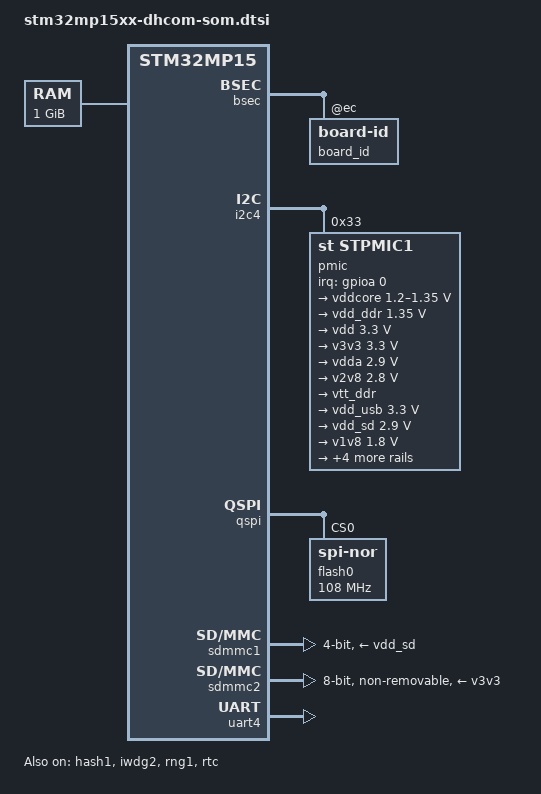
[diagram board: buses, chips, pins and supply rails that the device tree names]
// SPDX-License-Identifier: GPL-2.0-or-later OR BSD-3-Clause
/*
 * Copyright (C) 2019-2020 Marek Vasut <marex@denx.de>
 * Copyright (C) 2022 DH electronics GmbH
 * Copyright (C) 2023-2024, STMicroelectronics - All Rights Reserved
 */

#include "stm32mp15-pinctrl.dtsi"
#include "stm32mp15xxaa-pinctrl.dtsi"
#include <dt-bindings/clock/stm32mp1-clksrc.h>
#include "stm32mp15-ddr3-dhsom-2x4Gb-1066-binG.dtsi"

/ {
	memory@c0000000 {
		device_type = "memory";
		reg = <0xC0000000 0x40000000>;
	};
};

&bsec {
	board_id: board-id@ec {
		reg = <0xec 0x4>;
		st,non-secure-otp;
	};
};

&cpu0 {
	cpu-supply = <&vddcore>;
};

&cpu1 {
	cpu-supply = <&vddcore>;
};

&hash1 {
	status = "okay";
};

&i2c4 {
	pinctrl-names = "default";
	pinctrl-0 = <&i2c4_pins_a>;
	i2c-scl-rising-time-ns = <185>;
	i2c-scl-falling-time-ns = <20>;
	status = "okay";

	pmic: stpmic@33 {
		compatible = "st,stpmic1";
		reg = <0x33>;
		interrupts-extended = <&gpioa 0 IRQ_TYPE_EDGE_FALLING>;
		interrupt-controller;
		#interrupt-cells = <2>;
		status = "okay";

		regulators {
			compatible = "st,stpmic1-regulators";
			ldo1-supply = <&v3v3>;
			ldo2-supply = <&v3v3>;
			ldo3-supply = <&vdd_ddr>;
			ldo5-supply = <&v3v3>;
			ldo6-supply = <&v3v3>;
			pwr_sw1-supply = <&bst_out>;
			pwr_sw2-supply = <&bst_out>;

			vddcore: buck1 {
				regulator-name = "vddcore";
				regulator-min-microvolt = <1200000>;
				regulator-max-microvolt = <1350000>;
				regulator-always-on;
				regulator-initial-mode = <0>;
				regulator-over-current-protection;
			};

			vdd_ddr: buck2 {
				regulator-name = "vdd_ddr";
				regulator-min-microvolt = <1350000>;
				regulator-max-microvolt = <1350000>;
				regulator-always-on;
				regulator-initial-mode = <0>;
				regulator-over-current-protection;
			};

			vdd: buck3 {
				regulator-name = "vdd";
				regulator-min-microvolt = <3300000>;
				regulator-max-microvolt = <3300000>;
				regulator-always-on;
				st,mask-reset;
				regulator-initial-mode = <0>;
				regulator-over-current-protection;
			};

			v3v3: buck4 {
				regulator-name = "v3v3";
				regulator-min-microvolt = <3300000>;
				regulator-max-microvolt = <3300000>;
				regulator-always-on;
				regulator-over-current-protection;
				regulator-initial-mode = <0>;
			};

			vdda: ldo1 {
				regulator-name = "vdda";
				regulator-min-microvolt = <2900000>;
				regulator-max-microvolt = <2900000>;
				regulator-always-on;
			};

			v2v8: ldo2 {
				regulator-name = "v2v8";
				regulator-min-microvolt = <2800000>;
				regulator-max-microvolt = <2800000>;
			};

			vtt_ddr: ldo3 {
				regulator-name = "vtt_ddr";
				regulator-always-on;
				regulator-over-current-protection;
				st,regulator-sink-source;
			};

			vdd_usb: ldo4 {
				regulator-name = "vdd_usb";
				regulator-min-microvolt = <3300000>;
				regulator-max-microvolt = <3300000>;
			};

			vdd_sd: ldo5 {
				regulator-name = "vdd_sd";
				regulator-min-microvolt = <2900000>;
				regulator-max-microvolt = <2900000>;
				regulator-boot-on;
			};

			v1v8: ldo6 {
				regulator-name = "v1v8";
				regulator-min-microvolt = <1800000>;
				regulator-max-microvolt = <1800000>;
			};

			vref_ddr: vref_ddr {
				regulator-name = "vref_ddr";
				regulator-always-on;
			};

			bst_out: boost {
				regulator-name = "bst_out";
			};

			vbus_otg: pwr_sw1 {
				regulator-name = "vbus_otg";
			};

			vbus_sw: pwr_sw2 {
				regulator-name = "vbus_sw";
				regulator-active-discharge = <1>;
			};
		};
	};
};

&iwdg2 {
	timeout-sec = <32>;
	status = "okay";
};

&pwr_regulators {
	vdd-supply = <&vdd>;
	vdd_3v3_usbfs-supply = <&vdd_usb>;
};

&qspi {
	pinctrl-names = "default";
	pinctrl-0 = <&qspi_clk_pins_a
		     &qspi_bk1_pins_a
		     &qspi_cs1_pins_a>;
	reg = <0x58003000 0x1000>, <0x70000000 0x4000000>;
	#address-cells = <1>;
	#size-cells = <0>;
	status = "okay";

	flash0: flash@0 {
		compatible = "jedec,spi-nor";
		reg = <0>;
		spi-rx-bus-width = <4>;
		spi-max-frequency = <108000000>;
		#address-cells = <1>;
		#size-cells = <1>;
	};
};

&rcc {
	st,clksrc = <
		CLK_MPU_PLL1P
		CLK_AXI_PLL2P
		CLK_MCU_PLL3P
		CLK_RTC_LSE
		CLK_MCO1_DISABLED
		CLK_MCO2_PLL4
		CLK_CKPER_HSE
		CLK_FMC_ACLK
		CLK_QSPI_ACLK
		CLK_ETH_PLL4P
		CLK_SDMMC12_PLL4P
		CLK_DSI_DSIPLL
		CLK_STGEN_HSE
		CLK_USBPHY_HSE
		CLK_SPI2S1_PLL3Q
		CLK_SPI2S23_PLL3Q
		CLK_SPI45_HSI
		CLK_SPI6_HSI
		CLK_I2C46_HSI
		CLK_SDMMC3_PLL4P
		CLK_USBO_USBPHY
		CLK_ADC_CKPER
		CLK_CEC_LSE
		CLK_I2C12_HSI
		CLK_I2C35_HSI
		CLK_UART1_HSI
		CLK_UART24_HSI
		CLK_UART35_HSI
		CLK_UART6_HSI
		CLK_UART78_HSI
		CLK_SPDIF_PLL4P
		CLK_FDCAN_PLL4R
		CLK_SAI1_PLL3Q
		CLK_SAI2_PLL3Q
		CLK_SAI3_PLL3Q
		CLK_SAI4_PLL3Q
		CLK_RNG1_CSI
		CLK_RNG2_LSI
		CLK_LPTIM1_PCLK1
		CLK_LPTIM23_PCLK3
		CLK_LPTIM45_LSE
	>;

	st,clkdiv = <
		DIV(DIV_MPU, 1)
		DIV(DIV_AXI, 0)
		DIV(DIV_MCU, 0)
		DIV(DIV_APB1, 1)
		DIV(DIV_APB2, 1)
		DIV(DIV_APB3, 1)
		DIV(DIV_APB4, 1)
		DIV(DIV_APB5, 2)
		DIV(DIV_RTC, 23)
		DIV(DIV_MCO1, 0)
		DIV(DIV_MCO2, 1)
	>;

	st,pll_vco {
		pll2_vco_1066Mhz: pll2-vco-1066Mhz {
			src = <CLK_PLL12_HSE>;
			divmn = <2 65>;
			frac = <0x1400>;
		};

		pll3_vco_417Mhz: pll3-vco-417Mhz {
			src = <CLK_PLL3_HSE>;
			divmn = <1 33>;
			frac = <0x1a04>;
		};

		pll4_vco_600Mhz: pll4-vco-600hz {
			src = <CLK_PLL4_HSE>;
			divmn = <1 49>;
		};
	};

	/* VCO = 1066.0 MHz => P = 266 (AXI), Q = 533 (GPU), R = 533 (DDR) */
	pll2: st,pll@1 {
		compatible = "st,stm32mp1-pll";
		reg = <1>;

		st,pll = <&pll2_cfg1>;

		pll2_cfg1: pll2_cfg1 {
			st,pll_vco = <&pll2_vco_1066Mhz>;
			st,pll_div_pqr = <1 0 0>;
		};
	};

	/* VCO = 417.8 MHz => P = 209, Q = 24, R = 11 */
	pll3: st,pll@2 {
		compatible = "st,stm32mp1-pll";
		reg = <2>;

		st,pll = <&pll3_cfg1>;

		pll3_cfg1: pll3_cfg1 {
			st,pll_vco = <&pll3_vco_417Mhz>;
			st,pll_div_pqr = <1 16 36>;
		};
	};

	/* VCO = 600.0 MHz => P = 50, Q = 50, R = 50 */
	pll4: st,pll@3 {
		compatible = "st,stm32mp1-pll";
		reg = <3>;

		st,pll = <&pll4_cfg1>;

		pll4_cfg1: pll4_cfg1 {
			st,pll_vco = <&pll4_vco_600Mhz>;
			st,pll_div_pqr = <5 11 11>;
		};
	};
};

&rng1 {
	status = "okay";
};

&rtc {
	status = "okay";
};

&sdmmc1 {
	pinctrl-names = "default";
	pinctrl-0 = <&sdmmc1_b4_pins_a &sdmmc1_dir_pins_a>;
	disable-wp;
	st,sig-dir;
	st,neg-edge;
	bus-width = <4>;
	vmmc-supply = <&vdd_sd>;
	status = "okay";
};

&sdmmc1_b4_pins_a {
	/*
	 * SD bus pull-up resistors:
	 * - optional on SoMs with SD voltage translator
	 * - mandatory on SoMs without SD voltage translator
	 */
	pins1 {
		bias-pull-up;
	};
	pins2 {
		bias-pull-up;
	};
};

&sdmmc2 {
	pinctrl-names = "default";
	pinctrl-0 = <&sdmmc2_b4_pins_a &sdmmc2_d47_pins_a>;
	non-removable;
	no-sd;
	no-sdio;
	st,neg-edge;
	bus-width = <8>;
	vmmc-supply = <&v3v3>;
	vqmmc-supply = <&v3v3>;
	mmc-ddr-3_3v;
	status = "okay";
};

&uart4 {
	pinctrl-names = "default";
	pinctrl-0 = <&uart4_pins_a>;
	status = "okay";
};
